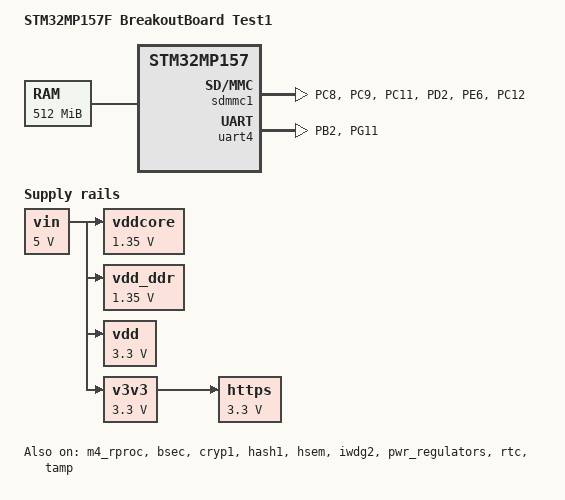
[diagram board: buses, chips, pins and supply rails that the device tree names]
/* SPDX-License-Identifier: (GPL-2.0+ OR BSD-3-Clause) */
/*
 * Copyright (C) STMicroelectronics 2021 - All Rights Reserved
 * Author: STM32CubeMX code generation for STMicroelectronics.
 */

/* For more information on Device Tree configuration, please refer to
 * https://wiki.st.com/stm32mpu/wiki/Category:Device_tree_configuration
 */

/dts-v1/;
#include <dt-bindings/pinctrl/stm32-pinfunc.h>

#include "stm32mp157.dtsi"
#include "stm32mp15xf.dtsi"
#include "stm32mp15xxab-pinctrl.dtsi"
#include "stm32mp157-m4-srm.dtsi"

/* USER CODE BEGIN includes */
/* USER CODE END includes */

/ {
	model = "STM32MP157F BreakoutBoard Test1";
	compatible = "st,stm32mp157f-mp157f_breakout-mx", "st,stm32mp157";

	memory@c0000000 {
		device_type = "memory";
		reg = <0xc0000000 0x20000000>;

		/* USER CODE BEGIN memory */
		/* USER CODE END memory */
	};

	reserved-memory {
		#address-cells = <1>;
		#size-cells = <1>;
		ranges;

		/* USER CODE BEGIN reserved-memory */
		/* USER CODE END reserved-memory */
	};

	/* USER CODE BEGIN root */
	
	vin: vin {
		compatible = "regulator-fixed";
		regulator-name = "vin";
		regulator-min-microvolt = <5000000>;
		regulator-max-microvolt = <5000000>;
		regulator-always-on;
	};
	
	// http://www.ti.com/lit/ds/symlink/tps54202.pdf
    vddcore: TPS54202 {
    	
      compatible = "regulator-fixed";
      regulator-name = "vddcore";
      regulator-min-microvolt = <1350000>;
      regulator-max-microvolt = <1350000>;
      regulator-always-on;
      vin-supply = <&vin>;

    };
    
    // http://www.ti.com/lit/ds/symlink/tps54202.pdf
    vdd_ddr: TPS54202 {

        compatible = "regulator-fixed";
        regulator-name = "vdd_ddr";
        regulator-min-microvolt = <1350000>;
        regulator-max-microvolt = <1350000>;
        regulator-always-on;
        vin-supply = <&vin>;
    };
    
    // https://datasheet.lcsc.com/szlcsc/1912111437_Seaward-Elec-SE8233X2_C437587.pdf
    vdd: SE8233X2 {

        compatible = "regulator-fixed";
        regulator-name = "vdd";
        regulator-min-microvolt = <3300000>;
        regulator-max-microvolt = <3300000>;
        regulator-always-on;
        vin-supply = <&vin>;
    };
    
    // https://datasheet.lcsc.com/szlcsc/1912111437_Seaward-Elec-SE8233X2_C437587.pdf
    v3v3: SE8233X2 {
    	
        compatible = "regulator-fixed";
        regulator-name = "v3v3";
        regulator-min-microvolt = <3300000>;
        regulator-max-microvolt = <3300000>;
        regulator-always-on;
        vin-supply = <&vin>;
    	
    };
    
    https://datasheet.octopart.com/DMG2302U-7-Diodes-Inc.-datasheet-103571615.pdf
    vdd_usb: DMG2302U {
        compatible = "regulator-fixed";
		regulator-name = "vdd_usb";
		regulator-min-microvolt = <3300000>;
		regulator-max-microvolt = <3300000>;
		regulator-always-on;
		vin-supply = <&v3v3>;
    };
    
	/* USER CODE END root */

	clocks {
		/* USER CODE BEGIN clocks */
		/* USER CODE END clocks */

#ifndef CONFIG_STM32MP1_TRUSTED
		clk_lsi: clk-lsi {
			clock-frequency = <32000>;
		};
		clk_hsi: clk-hsi {
			clock-frequency = <64000000>;
		};
		clk_csi: clk-csi {
			clock-frequency = <4000000>;
		};
		clk_lse: clk-lse {
			clock-frequency = <32768>;
		};
		clk_hse: clk-hse {
			clock-frequency = <24000000>;
		};
#endif	/*CONFIG_STM32MP1_TRUSTED*/
	};

}; /*root*/

&pinctrl {
	u-boot,dm-pre-reloc;

	rtc_pins_mx: rtc_mx-0 {
		pins {
			pinmux = <STM32_PINMUX('C', 13, ANALOG)>; /* RTC_LSCO */
		};
	};

	rtc_sleep_pins_mx: rtc_sleep_mx-0 {
		pins {
			pinmux = <STM32_PINMUX('C', 13, ANALOG)>; /* RTC_LSCO */
		};
	};

	sdmmc1_pins_mx: sdmmc1_mx-0 {
		u-boot,dm-pre-reloc;
		pins1 {
			u-boot,dm-pre-reloc;
			pinmux = <STM32_PINMUX('C', 8, AF12)>, /* SDMMC1_D0 */
					 <STM32_PINMUX('C', 9, AF12)>, /* SDMMC1_D1 */
					 <STM32_PINMUX('C', 11, AF12)>, /* SDMMC1_D3 */
					 <STM32_PINMUX('D', 2, AF12)>, /* SDMMC1_CMD */
					 <STM32_PINMUX('E', 6, AF8)>; /* SDMMC1_D2 */
			bias-disable;
			drive-push-pull;
			slew-rate = <1>;
		};
		pins2 {
			u-boot,dm-pre-reloc;
			pinmux = <STM32_PINMUX('C', 12, AF12)>; /* SDMMC1_CK */
			bias-disable;
			drive-push-pull;
			slew-rate = <3>;
		};
	};

	sdmmc1_opendrain_pins_mx: sdmmc1_opendrain_mx-0 {
		u-boot,dm-pre-reloc;
		pins1 {
			u-boot,dm-pre-reloc;
			pinmux = <STM32_PINMUX('C', 8, AF12)>, /* SDMMC1_D0 */
					 <STM32_PINMUX('C', 9, AF12)>, /* SDMMC1_D1 */
					 <STM32_PINMUX('C', 11, AF12)>, /* SDMMC1_D3 */
					 <STM32_PINMUX('E', 6, AF8)>; /* SDMMC1_D2 */
			bias-disable;
			drive-push-pull;
			slew-rate = <1>;
		};
		pins2 {
			u-boot,dm-pre-reloc;
			pinmux = <STM32_PINMUX('C', 12, AF12)>; /* SDMMC1_CK */
			bias-disable;
			drive-push-pull;
			slew-rate = <3>;
		};
		pins3 {
			u-boot,dm-pre-reloc;
			pinmux = <STM32_PINMUX('D', 2, AF12)>; /* SDMMC1_CMD */
			bias-disable;
			drive-open-drain;
			slew-rate = <1>;
		};
	};

	sdmmc1_sleep_pins_mx: sdmmc1_sleep_mx-0 {
		u-boot,dm-pre-reloc;
		pins {
			u-boot,dm-pre-reloc;
			pinmux = <STM32_PINMUX('C', 8, ANALOG)>, /* SDMMC1_D0 */
					 <STM32_PINMUX('C', 9, ANALOG)>, /* SDMMC1_D1 */
					 <STM32_PINMUX('C', 11, ANALOG)>, /* SDMMC1_D3 */
					 <STM32_PINMUX('C', 12, ANALOG)>, /* SDMMC1_CK */
					 <STM32_PINMUX('D', 2, ANALOG)>, /* SDMMC1_CMD */
					 <STM32_PINMUX('E', 6, ANALOG)>; /* SDMMC1_D2 */
		};
	};

	uart4_pins_mx: uart4_mx-0 {
		u-boot,dm-pre-reloc;
		pins1 {
			u-boot,dm-pre-reloc;
			pinmux = <STM32_PINMUX('B', 2, AF8)>; /* UART4_RX */
			bias-disable;
		};
		pins2 {
			u-boot,dm-pre-reloc;
			pinmux = <STM32_PINMUX('G', 11, AF6)>; /* UART4_TX */
			bias-disable;
			drive-push-pull;
			slew-rate = <0>;
		};
	};

	uart4_sleep_pins_mx: uart4_sleep_mx-0 {
		u-boot,dm-pre-reloc;
		pins {
			u-boot,dm-pre-reloc;
			pinmux = <STM32_PINMUX('B', 2, ANALOG)>, /* UART4_RX */
					 <STM32_PINMUX('G', 11, ANALOG)>; /* UART4_TX */
		};
	};

	/* USER CODE BEGIN pinctrl */
	/* USER CODE END pinctrl */
};

&pinctrl_z {
	u-boot,dm-pre-reloc;

	/* USER CODE BEGIN pinctrl_z */
	/* USER CODE END pinctrl_z */
};

&m4_rproc{
	/*Restriction: "memory-region" property is not managed - please to use User-Section if needed*/
	mboxes = <&ipcc 2>;
	mbox-names = "shutdown";
	status = "okay";

	/* USER CODE BEGIN m4_rproc */
	/* USER CODE END m4_rproc */
};

&bsec{
	status = "okay";

	/* USER CODE BEGIN bsec */
	/* USER CODE END bsec */
};

&cryp1{
	u-boot,dm-pre-reloc;
	status = "okay";

	/* USER CODE BEGIN cryp1 */
	/* USER CODE END cryp1 */
};

&dma1{
	status = "okay";

	/* USER CODE BEGIN dma1 */
	/* USER CODE END dma1 */
};

&dma2{
	status = "okay";

	/* USER CODE BEGIN dma2 */
	/* USER CODE END dma2 */
};

&dmamux1{

	dma-masters = <&dma1 &dma2>;
	dma-channels = <16>;

	status = "okay";

	/* USER CODE BEGIN dmamux1 */
	/* USER CODE END dmamux1 */
};

&hash1{
	u-boot,dm-pre-reloc;
	status = "okay";

	/* USER CODE BEGIN hash1 */
	/* USER CODE END hash1 */
};

&hsem{
	status = "okay";

	/* USER CODE BEGIN hsem */
	/* USER CODE END hsem */
};

&ipcc{
	status = "okay";

	/* USER CODE BEGIN ipcc */
	/* USER CODE END ipcc */
};

&iwdg2{
	status = "okay";

	/* USER CODE BEGIN iwdg2 */
	/* USER CODE END iwdg2 */
};

&mdma1{
	status = "okay";

	/* USER CODE BEGIN mdma1 */
	/* USER CODE END mdma1 */
};

&pwr_regulators{
	status = "okay";

	/* USER CODE BEGIN pwr_regulators */
	/* USER CODE END pwr_regulators */
};

&rcc{
	u-boot,dm-pre-reloc;
	status = "okay";

	/* USER CODE BEGIN rcc */
	/* USER CODE END rcc */
};

&rtc{
	pinctrl-names = "default", "sleep";
	pinctrl-0 = <&rtc_pins_mx>;
	pinctrl-1 = <&rtc_sleep_pins_mx>;
	status = "okay";

	/* USER CODE BEGIN rtc */
	/* USER CODE END rtc */
};

&sdmmc1{
	u-boot,dm-pre-reloc;
	pinctrl-names = "default", "opendrain", "sleep";
	pinctrl-0 = <&sdmmc1_pins_mx>;
	pinctrl-1 = <&sdmmc1_opendrain_pins_mx>;
	pinctrl-2 = <&sdmmc1_sleep_pins_mx>;
	status = "okay";

	/* USER CODE BEGIN sdmmc1 */
	/* USER CODE END sdmmc1 */
};

&tamp{
	status = "okay";

	/* USER CODE BEGIN tamp */
	/* USER CODE END tamp */
};

&uart4{
	u-boot,dm-pre-reloc;
	pinctrl-names = "default", "sleep";
	pinctrl-0 = <&uart4_pins_mx>;
	pinctrl-1 = <&uart4_sleep_pins_mx>;
	status = "okay";

	/* USER CODE BEGIN uart4 */
	/* USER CODE END uart4 */
};

/* USER CODE BEGIN addons */




/* USER CODE END addons */

